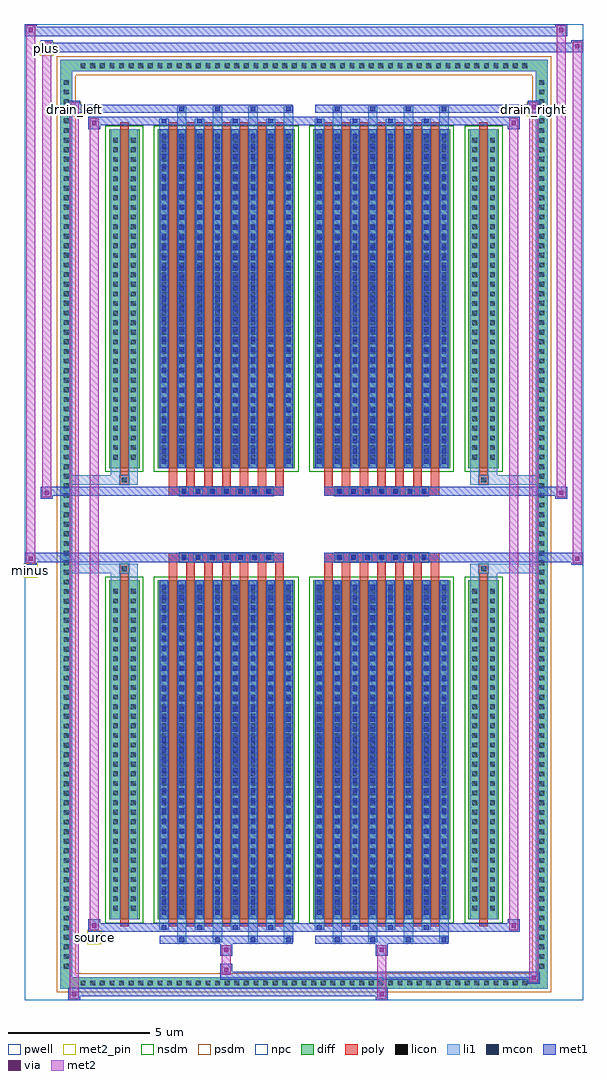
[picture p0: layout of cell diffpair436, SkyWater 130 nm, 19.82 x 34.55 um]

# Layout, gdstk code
import gdstk
lib = gdstk.Library(unit=1e-6, precision=5e-09)
def R(c, l, rs):  # rectangles x0, y0, x1, y1
    for r in rs: c.add(gdstk.rectangle(r[:2], r[2:], *l))
def A(c, l, x, y, w, h, nx, ny, dx, dy):  # array of equal rectangles
    R(c, l, [(x+i*dx, y+j*dy, x+i*dx+w, y+j*dy+h) for i in range(nx) for j in range(ny)])
def P(c, l, *ps):  # polygons
    for p in ps: c.add(gdstk.Polygon(p, *l))
pwell = (64, 44)
diff = (65, 20)
poly = (66, 20)
licon = (66, 44)
li1 = (67, 20)
mcon = (67, 44)
met1 = (68, 20)
via = (68, 44)
met2_pin = (69, 16)
met2 = (69, 20)
nsdm = (93, 44)
psdm = (94, 20)
npc = (95, 20)

diffpair436 = lib.new_cell('diffpair436')
R(diffpair436, pwell, [(-9.89,-16.84,9.89,17.71), (-7.21,-15.03,-0.01,-0.805), (0.01,-15.03,7.21,-0.805), (-7.21,0.805,-0.01,15.03), (0.01,0.805,7.21,15.03)])
A(diffpair436, diff, -8.025, -16.44, 0.41, 0.41, 47, 2, 0.34, 32.47)
A(diffpair436, diff, -8.62, -15.845, 0.41, 0.41, 1, 93, 0, 0.34)
A(diffpair436, diff, 8.21, -15.845, 0.41, 0.41, 1, 93, 0, 0.34)
R(diffpair436, diff, [(-8.025,-16.44,8.025,-16.03), (-8.62,-15.845,-8.21,15.845), (8.21,-15.845,8.62,15.845), (-6.9,-13.985,-5.82,-1.985), (-5.18,-13.985,-0.32,-1.985), (0.32,-13.985,5.18,-1.985), (5.82,-13.985,6.9,-1.985), (-6.9,1.985,-5.82,13.985), (-5.18,1.985,-0.32,13.985), (0.32,1.985,5.18,13.985), (5.82,1.985,6.9,13.985), (-8.025,16.03,8.025,16.44)])
P(diffpair436, diff, [(8.62,16.44),(-8.62,16.44),(-8.62,-16.03),(-8.21,-16.03),(-8.21,16.03),(8.21,16.03),(8.21,-16.03),(-8.21,-16.03),(-8.62,-16.03),(-8.62,-16.44),(8.62,-16.44)])
A(diffpair436, poly, -4.79, -14.235, 0.3, 12.5, 7, 2, 0.63, 15.97)
A(diffpair436, poly, 0.71, -14.235, 0.3, 12.5, 7, 2, 0.63, 15.97)
A(diffpair436, poly, -4.79, -1.735, 0.3, 0.4, 7, 2, 0.63, 3.07)
A(diffpair436, poly, 0.71, -1.735, 0.3, 0.4, 7, 2, 0.63, 3.07)
A(diffpair436, poly, -4.415, -1.335, 0.33, 0.33, 7, 2, 0.5, 2.34)
A(diffpair436, poly, 1.085, -1.335, 0.33, 0.33, 7, 2, 0.5, 2.34)
R(diffpair436, poly, [(-6.51,-14.235,-6.21,-1.735), (6.21,-14.235,6.51,-1.735), (-6.525,-1.735,-6.195,-1.405), (-6.525,-1.735,-6.195,-1.405), (6.195,-1.735,6.525,-1.405), (6.195,-1.735,6.525,-1.405), (-4.79,-1.335,-0.71,-1.005), (0.71,-1.335,4.79,-1.005), (-4.79,1.005,-0.71,1.335), (0.71,1.005,4.79,1.335), (-6.525,1.405,-6.195,1.735), (-6.525,1.405,-6.195,1.735), (6.195,1.405,6.525,1.735), (6.195,1.405,6.525,1.735), (-6.51,1.735,-6.21,14.235), (6.21,1.735,6.51,14.235)])
A(diffpair436, licon, -7.905, -16.32, 0.17, 0.17, 47, 2, 0.34, 32.47)
A(diffpair436, licon, -8.5, -15.725, 0.17, 0.17, 1, 93, 0, 0.34)
A(diffpair436, licon, 8.33, -15.725, 0.17, 0.17, 1, 93, 0, 0.34)
A(diffpair436, licon, -6.76, -13.68, 0.17, 0.17, 1, 34, 0, 0.34)
A(diffpair436, licon, -6.13, -13.68, 0.17, 0.17, 1, 34, 0, 0.34)
A(diffpair436, licon, -5.04, -13.68, 0.17, 0.17, 8, 34, 0.63, 0.34)
A(diffpair436, licon, 0.46, -13.68, 0.17, 0.17, 8, 34, 0.63, 0.34)
A(diffpair436, licon, 5.96, -13.68, 0.17, 0.17, 1, 34, 0, 0.34)
A(diffpair436, licon, 6.59, -13.68, 0.17, 0.17, 1, 34, 0, 0.34)
A(diffpair436, licon, -4.335, -1.255, 0.17, 0.17, 7, 2, 0.5, 2.34)
A(diffpair436, licon, 1.165, -1.255, 0.17, 0.17, 7, 2, 0.5, 2.34)
A(diffpair436, licon, -6.76, 2.29, 0.17, 0.17, 1, 34, 0, 0.34)
A(diffpair436, licon, -6.13, 2.29, 0.17, 0.17, 1, 34, 0, 0.34)
A(diffpair436, licon, -5.04, 2.29, 0.17, 0.17, 8, 34, 0.63, 0.34)
A(diffpair436, licon, 0.46, 2.29, 0.17, 0.17, 8, 34, 0.63, 0.34)
A(diffpair436, licon, 5.96, 2.29, 0.17, 0.17, 1, 34, 0, 0.34)
A(diffpair436, licon, 6.59, 2.29, 0.17, 0.17, 1, 34, 0, 0.34)
R(diffpair436, licon, [(-6.445,-1.655,-6.275,-1.485), (6.275,-1.655,6.445,-1.485), (-6.445,1.485,-6.275,1.655), (6.275,1.485,6.445,1.655)])
A(diffpair436, li1, -7.985, -16.4, 0.33, 0.33, 47, 2, 0.34, 32.47)
A(diffpair436, li1, -8.58, -15.805, 0.33, 0.33, 1, 93, 0, 0.34)
A(diffpair436, li1, 8.25, -15.805, 0.33, 0.33, 1, 93, 0, 0.34)
A(diffpair436, li1, -4.49, -14.79, 0.33, 0.805, 4, 2, 1.26, 28.775)
A(diffpair436, li1, -4.41, -14.79, 0.17, 0.17, 4, 2, 1.26, 29.41)
A(diffpair436, li1, 1.01, -14.79, 0.33, 0.805, 4, 2, 1.26, 28.775)
A(diffpair436, li1, 1.09, -14.79, 0.17, 0.17, 4, 2, 1.26, 29.41)
A(diffpair436, li1, -5.12, -14.36, 0.33, 0.375, 4, 2, 1.26, 28.345)
A(diffpair436, li1, -5.04, -14.36, 0.17, 0.17, 4, 2, 1.26, 28.55)
A(diffpair436, li1, 0.38, -14.36, 0.33, 0.375, 4, 2, 1.26, 28.345)
A(diffpair436, li1, 0.46, -14.36, 0.17, 0.17, 4, 2, 1.26, 28.55)
A(diffpair436, li1, -5.12, -13.985, 0.33, 12, 8, 2, 0.63, 15.97)
A(diffpair436, li1, 0.38, -13.985, 0.33, 12, 8, 2, 0.63, 15.97)
A(diffpair436, li1, -5.04, -13.83, 0.17, 0.17, 8, 33, 0.63, 0.36)
A(diffpair436, li1, -5.04, -13.83, 0.17, 11.69, 8, 2, 0.63, 15.97)
A(diffpair436, li1, 0.46, -13.83, 0.17, 0.17, 8, 33, 0.63, 0.36)
A(diffpair436, li1, 0.46, -13.83, 0.17, 11.69, 8, 2, 0.63, 15.97)
A(diffpair436, li1, -6.84, -13.76, 0.33, 0.33, 1, 34, 0, 0.34)
A(diffpair436, li1, -6.21, -13.76, 0.33, 0.33, 1, 34, 0, 0.34)
A(diffpair436, li1, -5.12, -13.76, 0.33, 0.33, 8, 34, 0.63, 0.34)
A(diffpair436, li1, 0.38, -13.76, 0.33, 0.33, 8, 34, 0.63, 0.34)
A(diffpair436, li1, 5.88, -13.76, 0.33, 0.33, 1, 34, 0, 0.34)
A(diffpair436, li1, 6.51, -13.76, 0.33, 0.33, 1, 34, 0, 0.34)
A(diffpair436, li1, -4.415, -1.335, 0.33, 0.33, 7, 2, 0.5, 2.34)
A(diffpair436, li1, 1.085, -1.335, 0.33, 0.33, 7, 2, 0.5, 2.34)
A(diffpair436, li1, -5.04, 2.14, 0.17, 0.17, 8, 33, 0.63, 0.36)
A(diffpair436, li1, 0.46, 2.14, 0.17, 0.17, 8, 33, 0.63, 0.36)
A(diffpair436, li1, -6.84, 2.21, 0.33, 0.33, 1, 34, 0, 0.34)
A(diffpair436, li1, -6.21, 2.21, 0.33, 0.33, 1, 34, 0, 0.34)
A(diffpair436, li1, -5.12, 2.21, 0.33, 0.33, 8, 34, 0.63, 0.34)
A(diffpair436, li1, 0.38, 2.21, 0.33, 0.33, 8, 34, 0.63, 0.34)
A(diffpair436, li1, 5.88, 2.21, 0.33, 0.33, 1, 34, 0, 0.34)
A(diffpair436, li1, 6.51, 2.21, 0.33, 0.33, 1, 34, 0, 0.34)
R(diffpair436, li1, [(-8.62,-16.44,-8.21,-16.03), (-8.62,-16.44,-8.21,-16.03), (-8.21,-16.44,8.21,-16.03), (8.21,-16.44,8.62,-16.03), (8.21,-16.44,8.62,-16.03), (-8.62,-16.03,-8.21,16.03), (8.21,-16.03,8.62,16.03), (-6.84,-13.985,-6.51,-1.985), (-6.21,-13.985,-5.88,-1.985), (5.88,-13.985,6.21,-1.985), (6.51,-13.985,6.84,-1.985), (-6.84,-1.985,-6.51,-1.405), (-6.21,-1.985,-5.88,-1.405), (5.88,-1.985,6.21,-1.405), (6.51,-1.985,6.84,-1.405), (-8.62,-1.735,-6.525,-1.405), (-6.84,-1.735,-6.525,-1.405), (-6.525,-1.735,-6.195,-1.405), (-6.195,-1.735,-5.88,-1.405), (5.88,-1.735,6.195,-1.405), (6.195,-1.735,6.525,-1.405), (6.195,-1.735,8.62,-1.405), (6.525,-1.735,6.84,-1.405), (-8.62,1.405,-6.525,1.735), (-6.84,1.405,-6.525,1.735), (-6.84,1.405,-6.51,1.985), (-6.525,1.405,-6.195,1.735), (-6.21,1.405,-5.88,1.985), (-6.195,1.405,-5.88,1.735), (5.88,1.405,6.195,1.735), (5.88,1.405,6.21,1.985), (6.195,1.405,6.525,1.735), (6.195,1.405,8.62,1.735), (6.51,1.405,6.84,1.985), (6.525,1.405,6.84,1.735), (-6.84,1.985,-6.51,13.985), (-6.21,1.985,-5.88,13.985), (5.88,1.985,6.21,13.985), (6.51,1.985,6.84,13.985), (-8.62,16.03,-8.21,16.44), (-8.62,16.03,-8.21,16.44), (-8.21,16.03,8.21,16.44), (8.21,16.03,8.62,16.44), (8.21,16.03,8.62,16.44)])
A(diffpair436, mcon, -4.41, -14.79, 0.17, 0.17, 4, 2, 1.26, 29.41)
A(diffpair436, mcon, 1.09, -14.79, 0.17, 0.17, 4, 2, 1.26, 29.41)
A(diffpair436, mcon, -5.04, -14.36, 0.17, 0.17, 4, 2, 1.26, 28.55)
A(diffpair436, mcon, 0.46, -14.36, 0.17, 0.17, 4, 2, 1.26, 28.55)
A(diffpair436, mcon, -5.04, -13.83, 0.17, 0.17, 8, 33, 0.63, 0.36)
A(diffpair436, mcon, 0.46, -13.83, 0.17, 0.17, 8, 33, 0.63, 0.36)
A(diffpair436, mcon, -4.335, -1.255, 0.17, 0.17, 7, 2, 0.5, 2.34)
A(diffpair436, mcon, 1.165, -1.255, 0.17, 0.17, 7, 2, 0.5, 2.34)
A(diffpair436, mcon, -5.04, 2.14, 0.17, 0.17, 8, 33, 0.63, 0.36)
A(diffpair436, mcon, 0.46, 2.14, 0.17, 0.17, 8, 33, 0.63, 0.36)
A(diffpair436, met1, -4.47, -14.85, 0.29, 0.29, 4, 2, 1.26, 29.41)
A(diffpair436, met1, 1.03, -14.85, 0.29, 0.29, 4, 2, 1.26, 29.41)
A(diffpair436, met1, -5.1, -14.42, 0.29, 0.29, 4, 2, 1.26, 28.55)
A(diffpair436, met1, 0.4, -14.42, 0.29, 0.29, 4, 2, 1.26, 28.55)
A(diffpair436, met1, -5.1, -13.985, 0.29, 12, 8, 2, 0.63, 15.97)
A(diffpair436, met1, 0.4, -13.985, 0.29, 12, 8, 2, 0.63, 15.97)
A(diffpair436, met1, -5.1, -13.89, 0.29, 0.29, 8, 33, 0.63, 0.36)
A(diffpair436, met1, 0.4, -13.89, 0.29, 0.29, 8, 33, 0.63, 0.36)
A(diffpair436, met1, -4.395, -1.315, 0.29, 0.29, 7, 2, 0.5, 2.34)
A(diffpair436, met1, 1.105, -1.315, 0.29, 0.29, 7, 2, 0.5, 2.34)
A(diffpair436, met1, -5.1, 2.08, 0.29, 0.29, 8, 33, 0.63, 0.36)
A(diffpair436, met1, 0.4, 2.08, 0.29, 0.29, 8, 33, 0.63, 0.36)
R(diffpair436, met1, [(-8.35,-16.84,-7.92,-16.41), (2.535,-16.84,2.965,-16.41), (-8.35,-16.7,2.965,-16.41), (7.92,-16.27,8.35,-15.84), (-2.965,-16.13,8.35,-15.84), (-2.965,-15.99,-2.535,-15.56), (-2.965,-15.28,-2.535,-14.85), (2.535,-15.28,2.965,-14.85), (-5.1,-14.85,-0.4,-14.56), (0.4,-14.85,5.1,-14.56), (-7.64,-14.42,-7.21,-13.99), (-7.64,-14.42,-5.1,-14.13), (-5.1,-14.42,-0.4,-14.13), (-0.4,-14.42,0.4,-14.13), (0.4,-14.42,5.1,-14.13), (5.1,-14.42,7.64,-14.13), (7.21,-14.42,7.64,-13.99), (-9.89,-1.435,-9.46,-1.005), (9.46,-1.435,9.89,-1.005), (-9.89,-1.335,-0.71,-1.005), (-4.79,-1.335,-0.71,-1.005), (0.71,-1.335,4.79,-1.005), (0.71,-1.335,9.89,-1.005), (-9.32,0.905,-8.89,1.335), (8.89,0.905,9.32,1.335), (-9.32,1.005,-4.79,1.335), (-4.79,1.005,-0.71,1.335), (0.71,1.005,4.79,1.335), (4.79,1.005,9.32,1.335), (-7.64,13.99,-7.21,14.42), (7.21,13.99,7.64,14.42), (-7.64,14.13,-5.1,14.42), (-5.1,14.13,-0.4,14.42), (-0.4,14.13,0.4,14.42), (0.4,14.13,5.1,14.42), (5.1,14.13,7.64,14.42), (-8.35,14.56,-7.92,14.99), (-8.35,14.56,-5.1,14.85), (-5.1,14.56,-0.4,14.85), (0.4,14.56,5.1,14.85), (5.1,14.56,8.35,14.85), (7.92,14.56,8.35,14.99), (-9.32,16.71,-8.89,17.14), (-9.32,16.71,-7.21,17.04), (-7.21,16.71,7.21,17.04), (7.21,16.71,9.89,17.04), (9.46,16.71,9.89,17.14), (-9.89,17.28,-9.46,17.71), (-9.89,17.28,-7.21,17.61), (-7.21,17.28,7.21,17.61), (7.21,17.28,9.32,17.61), (8.89,17.28,9.32,17.71)])
R(diffpair436, via, [(-8.21,-16.7,-8.06,-16.55), (2.675,-16.7,2.825,-16.55), (8.06,-16.13,8.21,-15.98), (-2.825,-15.85,-2.675,-15.7), (-2.825,-15.14,-2.675,-14.99), (2.675,-15.14,2.825,-14.99), (-7.5,-14.28,-7.35,-14.13), (7.35,-14.28,7.5,-14.13), (-9.75,-1.295,-9.6,-1.145), (9.6,-1.295,9.75,-1.145), (-9.18,1.045,-9.03,1.195), (9.03,1.045,9.18,1.195), (-7.5,14.13,-7.35,14.28), (7.35,14.13,7.5,14.28), (-8.21,14.7,-8.06,14.85), (8.06,14.7,8.21,14.85), (-9.18,16.85,-9.03,17), (9.6,16.85,9.75,17), (-9.75,17.42,-9.6,17.57), (9.03,17.42,9.18,17.57)])
R(diffpair436, met2_pin, [(-7.675,-14.87,-7.175,-14.37), (-9.925,-1.885,-9.425,-1.385), (-8.385,14.44,-7.885,14.94), (7.885,14.44,8.385,14.94), (-9.355,16.59,-8.855,17.09)])
R(diffpair436, met2, [(-8.3,-16.79,-7.97,-16.46), (-8.3,-16.79,-7.97,14.94), (2.585,-16.79,2.915,-16.46), (2.585,-16.46,2.915,-15.23), (7.97,-16.22,8.3,-15.89), (7.97,-16.22,8.3,14.94), (-2.915,-15.94,-2.585,-15.61), (-2.915,-15.61,-2.585,-15.23), (-2.915,-15.23,-2.585,-14.9), (2.585,-15.23,2.915,-14.9), (-7.59,-14.37,-7.26,-14.04), (-7.59,-14.37,-7.26,14.37), (7.26,-14.37,7.59,-14.04), (7.26,-14.37,7.59,14.37), (-9.84,-1.385,-9.51,-1.055), (-9.84,-1.385,-9.51,17.66), (9.51,-1.385,9.84,-1.055), (9.51,-1.385,9.84,17.09), (-9.27,0.955,-8.94,1.285), (-9.27,0.955,-8.94,17.09), (8.94,0.955,9.27,1.285), (8.94,0.955,9.27,17.66), (-7.59,14.04,-7.26,14.37), (7.26,14.04,7.59,14.37), (-8.3,14.61,-7.97,14.94), (7.97,14.61,8.3,14.94), (-9.27,16.76,-8.94,17.09), (9.51,16.76,9.84,17.09), (-9.84,17.33,-9.51,17.66), (8.94,17.33,9.27,17.66)])
P(diffpair436, met2, [(9.84,-1.385),(9.84,-1.385),(9.84,-1.055),(9.84,-1.055)],
  [(9.84,16.76),(9.84,16.76),(9.84,17.09),(9.84,17.09)],
  [(-9.51,-1.385),(-9.51,-1.385),(-9.51,-1.055),(-9.51,-1.055)],
  [(-9.51,17.33),(-9.51,17.33),(-9.51,17.66),(-9.51,17.66)],
  [(9.27,0.955),(9.27,0.955),(9.27,1.285),(9.27,1.285)],
  [(9.27,17.33),(9.27,17.33),(9.27,17.66),(9.27,17.66)],
  [(-8.94,0.955),(-8.94,0.955),(-8.94,1.285),(-8.94,1.285)],
  [(-8.94,16.76),(-8.94,16.76),(-8.94,17.09),(-8.94,17.09)],
  [(-7.97,-16.79),(-7.97,-16.79),(-7.97,-16.46),(-7.97,-16.46)],
  [(-7.97,14.61),(-7.97,14.61),(-7.97,14.94),(-7.97,14.94)],
  [(8.3,-16.22),(8.3,-16.22),(8.3,-15.89),(8.3,-15.89)],
  [(8.3,14.61),(8.3,14.61),(8.3,14.94),(8.3,14.94)],
  [(-7.26,-14.37),(-7.26,-14.37),(-7.26,-14.04),(-7.26,-14.04)],
  [(-7.26,14.04),(-7.26,14.04),(-7.26,14.37),(-7.26,14.37)],
  [(7.59,-14.37),(7.59,-14.37),(7.59,-14.04),(7.59,-14.04)],
  [(7.59,14.04),(7.59,14.04),(7.59,14.37),(7.59,14.37)])
R(diffpair436, nsdm, [(-7.03,-14.115,-5.69,-1.855), (-5.31,-14.115,-0.19,-1.855), (0.19,-14.115,5.31,-1.855), (5.69,-14.115,7.03,-1.855), (-7.03,1.855,-5.69,14.115), (-5.31,1.855,-0.19,14.115), (0.19,1.855,5.31,14.115), (5.69,1.855,7.03,14.115)])
P(diffpair436, psdm, [(8.75,16.57),(-8.75,16.57),(-8.75,-15.9),(-8.08,-15.9),(-8.08,15.9),(8.08,15.9),(8.08,-15.9),(-8.08,-15.9),(-8.75,-15.9),(-8.75,-16.57),(8.75,-16.57)])
A(diffpair436, npc, -4.435, -1.355, 0.37, 0.37, 7, 2, 0.5, 2.34)
A(diffpair436, npc, 1.065, -1.355, 0.37, 0.37, 7, 2, 0.5, 2.34)
R(diffpair436, npc, [(-6.545,-1.755,-6.175,-1.385), (6.175,-1.755,6.545,-1.385), (-4.435,-1.355,-3.565,-0.985), (-4.435,-1.355,-3.565,-0.985), (-3.935,-1.355,-3.065,-0.985), (-3.935,-1.355,-3.065,-0.985), (-3.435,-1.355,-2.565,-0.985), (-3.435,-1.355,-2.565,-0.985), (-2.935,-1.355,-2.065,-0.985), (-2.935,-1.355,-2.065,-0.985), (-2.435,-1.355,-1.565,-0.985), (-2.435,-1.355,-1.565,-0.985), (-1.935,-1.355,-1.065,-0.985), (-1.935,-1.355,-1.065,-0.985), (1.065,-1.355,1.935,-0.985), (1.065,-1.355,1.935,-0.985), (1.565,-1.355,2.435,-0.985), (1.565,-1.355,2.435,-0.985), (2.065,-1.355,2.935,-0.985), (2.065,-1.355,2.935,-0.985), (2.565,-1.355,3.435,-0.985), (2.565,-1.355,3.435,-0.985), (3.065,-1.355,3.935,-0.985), (3.065,-1.355,3.935,-0.985), (3.565,-1.355,4.435,-0.985), (3.565,-1.355,4.435,-0.985), (-4.435,0.985,-3.565,1.355), (-4.435,0.985,-3.565,1.355), (-3.935,0.985,-3.065,1.355), (-3.935,0.985,-3.065,1.355), (-3.435,0.985,-2.565,1.355), (-3.435,0.985,-2.565,1.355), (-2.935,0.985,-2.065,1.355), (-2.935,0.985,-2.065,1.355), (-2.435,0.985,-1.565,1.355), (-2.435,0.985,-1.565,1.355), (-1.935,0.985,-1.065,1.355), (-1.935,0.985,-1.065,1.355), (1.065,0.985,1.935,1.355), (1.065,0.985,1.935,1.355), (1.565,0.985,2.435,1.355), (1.565,0.985,2.435,1.355), (2.065,0.985,2.935,1.355), (2.065,0.985,2.935,1.355), (2.565,0.985,3.435,1.355), (2.565,0.985,3.435,1.355), (3.065,0.985,3.935,1.355), (3.065,0.985,3.935,1.355), (3.565,0.985,4.435,1.355), (3.565,0.985,4.435,1.355), (-6.545,1.385,-6.175,1.755), (6.175,1.385,6.545,1.755)])
diffpair436.add(gdstk.Label('minus', (-9.675,-1.635), layer=69, texttype=5))
diffpair436.add(gdstk.Label('drain_right', (8.135,14.69), layer=69, texttype=5))
diffpair436.add(gdstk.Label('drain_left', (-8.135,14.69), layer=69, texttype=5))
diffpair436.add(gdstk.Label('source', (-7.425,-14.62), layer=69, texttype=5))
diffpair436.add(gdstk.Label('plus', (-9.105,16.84), layer=69, texttype=5))

lib.write_gds('diffpair436.gds')
